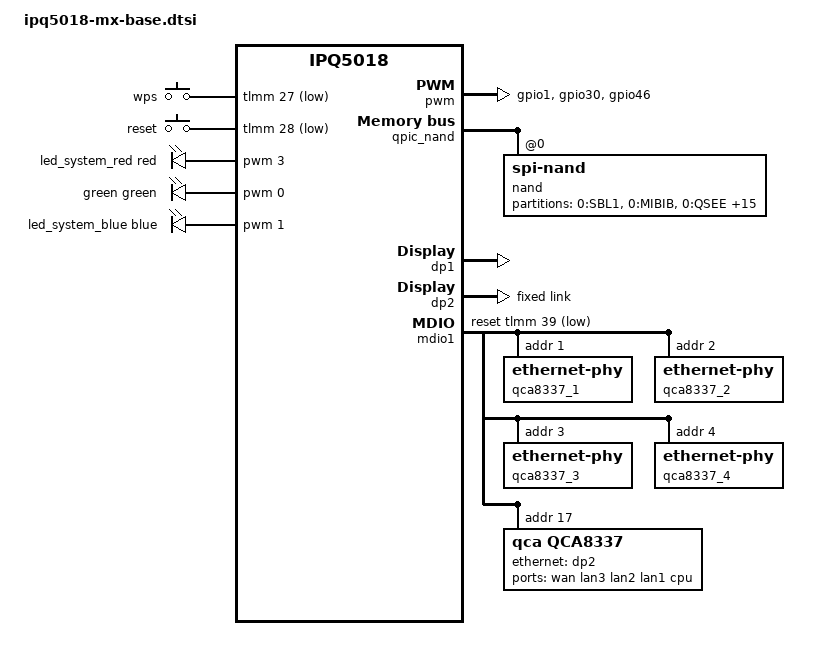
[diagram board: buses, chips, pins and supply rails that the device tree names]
// SPDX-License-Identifier: GPL-2.0-or-later OR MIT

#include "ipq5018.dtsi"
#include "ipq5018-ess.dtsi"
#include "ipq5018-nss.dtsi"
#include "ipq5018-common.dtsi"

#include <dt-bindings/gpio/gpio.h>
#include <dt-bindings/input/input.h>
#include <dt-bindings/leds/common.h>

/ {

	aliases {
		led-boot = &led_system_blue;
		led-failsafe = &led_system_red;
		led-running = &led_system_blue;
		led-upgrade = &led_system_red;
		serial0 = &blsp1_uart1;
	};

	chosen {
		stdout-path = "serial0:115200n8";
		bootargs-append = " root=/dev/ubiblock0_0";
	};

	keys {
		compatible = "gpio-keys";

		wps-button {
			label = "wps";
			gpios = <&tlmm 27 GPIO_ACTIVE_LOW>;
			linux,code = <KEY_WPS_BUTTON>;
		};

		reset-button {
			label = "reset";
			gpios = <&tlmm 28 GPIO_ACTIVE_LOW>;
			linux,code = <KEY_RESTART>;
		};
	};

	leds {
		compatible = "pwm-leds";

		led_system_red: system-red {
			color = <LED_COLOR_ID_RED>;
			function = LED_FUNCTION_POWER;
			pwms = <&pwm 3 1250000>;
			max-brightness = <255>;
		};

		green {
			color = <LED_COLOR_ID_GREEN>;
			function = LED_FUNCTION_POWER;
			pwms = <&pwm 0 1250000>;
			max-brightness = <255>;
		};

		led_system_blue: system-blue {
			color = <LED_COLOR_ID_BLUE>;
			function = LED_FUNCTION_POWER;
			pwms = <&pwm 1 1250000>;
			max-brightness = <255>;
		};
	};
};

&pwm {
	status = "okay";

	#pwm-cells = <2>;
	pinctrl-0 = <&pwm_pins>;
	pinctrl-names = "default";
};

&qpic_nand {
	status = "okay";

	pinctrl-0 = <&qpic_pins>;
	pinctrl-names = "default";

	partitions {
		status = "disabled";
	};

	nand@0 {
		compatible = "spi-nand";
		reg = <0>;

		nand-ecc-engine = <&qpic_nand>;
		nand-ecc-strength = <4>;
		nand-ecc-step-size = <512>;
		nand-bus-width = <8>;

		partitions {
			compatible = "fixed-partitions";
			#address-cells = <1>;
			#size-cells = <1>;

			partition@0 {
				label = "0:SBL1";
				reg = <0x00000000 0x00080000>;
				read-only;
			};

			partition@80000 {
				label = "0:MIBIB";
				reg = <0x00080000 0x00080000>;
				read-only;
			};

			partition@100000 {
				label = "0:QSEE";
				reg = <0x00100000 0x00100000>;
				read-only;
			};

			partition@200000 {
				label = "0:DEVCFG";
				reg = <0x00200000 0x00040000>;
				read-only;
			};

			partition@240000 {
				label = "0:CDT";
				reg = <0x00240000 0x00040000>;
				read-only;
			};

			partition@280000 {
				label = "0:APPSBLENV";
				reg = <0x00280000 0x00080000>;
			};

			partition@300000 {
				label = "0:APPSBL";
				reg = <0x00300000 0x00140000>;
				read-only;
			};

			partition@440000 {
				label = "0:ART";
				reg = <0x00440000 0x00100000>;
				read-only;
			};

			partition@540000 {
				label = "0:TRAINING";
				reg = <0x00540000 0x00080000>;
				read-only;
			};

			partition@5c0000 {
				label = "u_env";
				reg = <0x005c0000 0x00080000>;
			};

			partition@640000 {
				label = "s_env";
				reg = <0x00640000 0x00040000>;
			};

			partition@680000 {
				label = "devinfo";
				reg = <0x00680000 0x00040000>;
				read-only;

				nvmem-layout {
					compatible = "ascii-eq-delim-env";
					#address-cells = <1>;
					#size-cells = <1>;

					hw_mac_addr: hw_mac_addr {
						compatible = "mac-base";
						#nvmem-cell-cells = <1>;
					};
				};
			};

			partition@6c0000 {
				label = "kernel";
				reg = <0x006c0000 0x05200000>;
			};

			partition@ec0000 {
				label = "rootfs";
				reg = <0x00ec0000 0x04a00000>;
			};

			partition@58c0000 {
				label = "alt_kernel";
				reg = <0x058c0000 0x05200000>;
			};

			partition@60c0000 {
				label = "alt_rootfs";
				reg = <0x060c0000 0x04a00000>;
			};

			partition@aac0000 {
				label = "sysdiag";
				reg = <0x0aac0000 0x00200000>;
				read-only;
			};

			partition@acc0000 {
				label = "syscfg";
				reg = <0x0acc0000 0x04400000>;
				read-only;
			};
		};
	};
};

&tlmm {
	pwm_pins: pwm-pins {
		mux_1 {
			pins = "gpio1";
			function = "pwm1";
			drive-strength = <8>;
		};

		mux_2 {
			pins = "gpio30";
			function = "pwm3";
			drive-strength = <8>;
		};

		mux_3 {
			pins = "gpio46";
			function = "pwm0";
			drive-strength = <8>;
		};
	};
};

&dp1 {
	status = "okay";
};

&dp2 {
	status = "okay";

	nvmem-cells = <&hw_mac_addr 0>;
	nvmem-cell-names = "mac-address";

	fixed-link {
		speed = <1000>;
		full-duplex;
	};
};

&mdio1 {
	status = "okay";

	pinctrl-0 = <&mdio1_pins>;
	pinctrl-names = "default";
	reset-gpios = <&tlmm 39 GPIO_ACTIVE_LOW>;

	qca8337_1: ethernet-phy@1 {
		reg = <1>;
	};

	qca8337_2: ethernet-phy@2 {
		reg = <2>;
	};

	qca8337_3: ethernet-phy@3 {
		reg = <3>;
	};

	qca8337_4: ethernet-phy@4 {
		reg = <4>;
	};

	qca8337: ethernet-switch@17 {
		compatible = "qca,qca8337";
		#address-cells = <1>;
		#size-cells = <0>;
		reg = <17>;

		ports {
			#address-cells = <1>;
			#size-cells = <0>;

			port@2 {
				reg = <2>;
				label = "wan";
				phy-handle = <&qca8337_1>;
			};

			port@3 {
				reg = <3>;
				label = "lan3";
				phy-handle = <&qca8337_2>;
			};

			port@4 {
				reg = <4>;
				label = "lan2";
				phy-handle = <&qca8337_3>;
			};

			port@5 {
				reg = <5>;
				label = "lan1";
				phy-handle = <&qca8337_4>;
			};

			port@6 {
				reg = <6>;
				label = "cpu";
				phy-mode = "sgmii";
				ethernet = <&dp2>;
				qca,sgmii-enable-pll;

				fixed-link {
					speed = <1000>;
					full-duplex;
				};
			};
		};
	};
};
